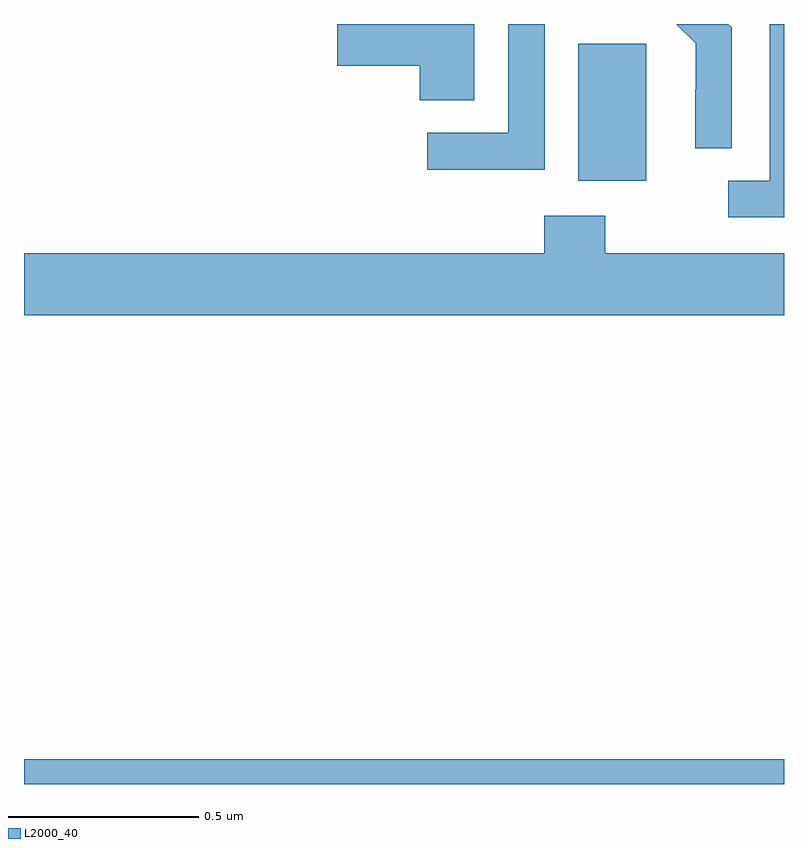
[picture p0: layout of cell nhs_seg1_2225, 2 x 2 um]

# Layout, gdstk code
import gdstk
lib = gdstk.Library(unit=1e-6, precision=1e-09)
def R(c, l, rs):  # rectangles x0, y0, x1, y1
    for r in rs: c.add(gdstk.rectangle(r[:2], r[2:], *l))
def P(c, l, *ps):  # polygons
    for p in ps: c.add(gdstk.Polygon(p, *l))
L2000_40 = (2000, 40)

nhs_seg1_2225 = lib.new_cell('nhs_seg1_2225')
R(nhs_seg1_2225, L2000_40, [(139,517.199,141,517.264), (140.459,518.786,140.638,519.147)])
P(nhs_seg1_2225, L2000_40, [(140.37,519.199),(140.274,519.199),(140.274,518.913),(140.061,518.913),(140.061,518.815),(140.37,518.815)],
  [(140.862,519.19),(140.853,519.199),(140.717,519.199),(140.768,519.149),(140.768,519.026),(140.766,519.026),(140.766,518.872),(140.862,518.872)],
  [(140.185,519.199),(139.824,519.199),(139.824,519.089),(140.042,519.089),(140.042,518.998),(140.185,518.998)],
  [(141,519.199),(140.963,519.199),(140.963,518.787),(140.853,518.787),(140.853,518.691),(141,518.691)],
  [(141,518.596),(140.529,518.596),(140.529,518.695),(140.369,518.695),(140.369,518.596),(139,518.596),(139,518.432),(141,518.432)])

lib.write_gds('nhs_seg1_2225.gds')
